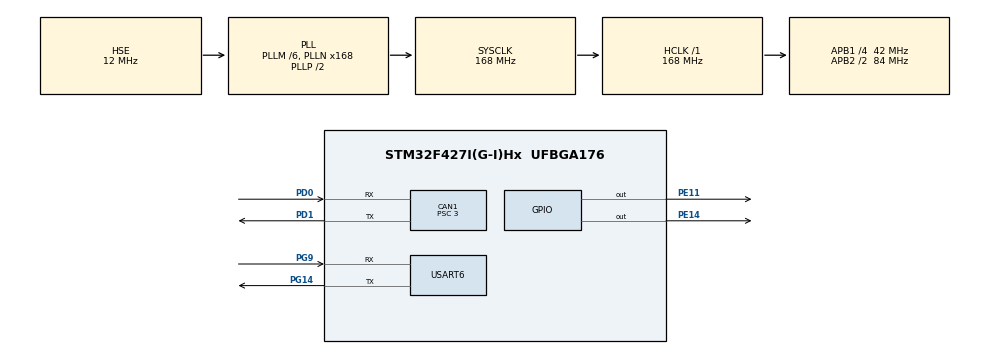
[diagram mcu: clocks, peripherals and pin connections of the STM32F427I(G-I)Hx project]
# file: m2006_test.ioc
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CAN1.BS1=CAN_BS1_9TQ
CAN1.BS2=CAN_BS2_4TQ
CAN1.CalculateBaudRate=1000000
CAN1.CalculateTimeBit=999.99
CAN1.CalculateTimeQuantum=71.42857142857143
CAN1.Prescaler=3
Mcu.Family=STM32F4
Mcu.Name=STM32F427I(G-I)Hx
Mcu.Package=UFBGA176
NVIC.CAN1_RX0_IRQn=true\:0\:0\:false\:false\:true\:true\:true
NVIC.PriorityGroup=NVIC_PRIORITYGROUP_4
NVIC.USART6_IRQn=true\:0\:0\:false\:false\:true\:true\:true
PA13.Mode=Serial_Wire
PA13.Signal=SYS_JTMS-SWDIO
PA14.Mode=Serial_Wire
PA14.Signal=SYS_JTCK-SWCLK
PD0.Mode=CAN_Activate
PD0.Signal=CAN1_RX
PD1.Mode=CAN_Activate
PD1.Signal=CAN1_TX
PE11.Signal=GPIO_Output
PE14.Signal=GPIO_Output
PG14.Mode=Asynchronous
PG14.Signal=USART6_TX
PG9.Mode=Asynchronous
PG9.Signal=USART6_RX
PH0/OSC_IN.Mode=HSE-External-Oscillator
PH0/OSC_IN.Signal=RCC_OSC_IN
PH1/OSC_OUT.Mode=HSE-External-Oscillator
PH1/OSC_OUT.Signal=RCC_OSC_OUT
ProjectManager.HeapSize=0x200
ProjectManager.StackSize=0x400
ProjectManager.TargetToolchain=MDK-ARM V5.27
RCC.48MHZClocksFreq_Value=84000000
RCC.AHBFreq_Value=168000000
RCC.APB1CLKDivider=RCC_HCLK_DIV4
RCC.APB1Freq_Value=42000000
RCC.APB1TimFreq_Value=84000000
RCC.APB2CLKDivider=RCC_HCLK_DIV2
RCC.APB2Freq_Value=84000000
RCC.APB2TimFreq_Value=168000000
RCC.CortexFreq_Value=168000000
RCC.HCLKFreq_Value=168000000
RCC.HSE_VALUE=12000000
RCC.HSI_VALUE=16000000
RCC.LSE_VALUE=32768
RCC.PLLM=6
RCC.PLLN=168
RCC.PLLSourceVirtual=RCC_PLLSOURCE_HSE
RCC.SYSCLKFreq_VALUE=168000000
RCC.SYSCLKSource=RCC_SYSCLKSOURCE_PLLCLK
RCC.VCOOutputFreq_Value=336000000
USART6.VirtualMode=VM_ASYNC
board=custom

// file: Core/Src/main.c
/* USER CODE BEGIN Header */
/**
  ******************************************************************************
  * @file           : main.c
  * @brief          : Main program body
  ******************************************************************************
  * @attention
  *
  * <h2><center>&copy; Copyright (c) 2021 STMicroelectronics.
  * All rights reserved.</center></h2>
  *
  * This software component is licensed by ST under BSD 3-Clause license,
  * the "License"; You may not use this file except in compliance with the
  * License. You may obtain a copy of the License at:
  *                        opensource.org/licenses/BSD-3-Clause
  *
  ******************************************************************************
  */
/* USER CODE END Header */
#include "main.h"
#include "can.h"
#include "usart.h"
#include "gpio.h"

/* USER CODE BEGIN Includes */
#include "PID.h"
#include "ROS_UART.h"
#include "Yuntai.h"
#include "Mission.h"
#include "M2006.h"
/* USER CODE END Includes */

void SystemClock_Config(void);

/* USER CODE BEGIN 0 */
uint8_t TxBuffer[8]={0};
float pos1=0.123;
float pos2=0.234;
int count=0;
int vel1=0;
int vel2=0;
int flag1=0;
/* USER CODE END 0 */

int main(void)
{

  /* MCU Configuration--------------------------------------------------------*/

  /* Reset of all peripherals, Initializes the Flash interface and the Systick. */
  HAL_Init();

  /* Configure the system clock */
  SystemClock_Config();

  /* Initialize all configured peripherals */
  MX_GPIO_Init();
  MX_CAN1_Init();
  MX_USART6_UART_Init();
  /* USER CODE BEGIN 2 */
	HAL_UART_Receive_IT(&huart6,Receive_Data,18u);
	CanFilterInit(&hcan1);
	Yuntai_Init();
  /* USER CODE END 2 */

  /* Infinite loop */
  /* USER CODE BEGIN WHILE */
  while (1)
  {
		count+=1;
		if(count>500)
		{
			TxBuffer_Package(TxBuffer,Yuntai.Motor[0].real_angle,Yuntai.Motor[1].real_angle);
			HAL_UART_Transmit(&huart6,TxBuffer,8,18u);
			count=0;
			HAL_GPIO_TogglePin(GPIOE,GPIO_PIN_11);
		}
		Mission_Start();
		HAL_Delay(1);
    /* USER CODE END WHILE */

  }
}

void SystemClock_Config(void)
{
  RCC_OscInitTypeDef RCC_OscInitStruct = {0};
  RCC_ClkInitTypeDef RCC_ClkInitStruct = {0};

  /** Configure the main internal regulator output voltage
  */
  __HAL_RCC_PWR_CLK_ENABLE();
  __HAL_PWR_VOLTAGESCALING_CONFIG(PWR_REGULATOR_VOLTAGE_SCALE1);
  /** Initializes the RCC Oscillators according to the specified parameters
  * in the RCC_OscInitTypeDef structure.
  */
  RCC_OscInitStruct.OscillatorType = RCC_OSCILLATORTYPE_HSE;
  RCC_OscInitStruct.HSEState = RCC_HSE_ON;
  RCC_OscInitStruct.PLL.PLLState = RCC_PLL_ON;
  RCC_OscInitStruct.PLL.PLLSource = RCC_PLLSOURCE_HSE;
  RCC_OscInitStruct.PLL.PLLM = 6;
  RCC_OscInitStruct.PLL.PLLN = 168;
  RCC_OscInitStruct.PLL.PLLP = RCC_PLLP_DIV2;
  RCC_OscInitStruct.PLL.PLLQ = 4;
  if (HAL_RCC_OscConfig(&RCC_OscInitStruct) != HAL_OK)
  {
    Error_Handler();
  }
  /** Initializes the CPU, AHB and APB buses clocks
  */
  RCC_ClkInitStruct.ClockType = RCC_CLOCKTYPE_HCLK|RCC_CLOCKTYPE_SYSCLK
                              |RCC_CLOCKTYPE_PCLK1|RCC_CLOCKTYPE_PCLK2;
  RCC_ClkInitStruct.SYSCLKSource = RCC_SYSCLKSOURCE_PLLCLK;
  RCC_ClkInitStruct.AHBCLKDivider = RCC_SYSCLK_DIV1;
  RCC_ClkInitStruct.APB1CLKDivider = RCC_HCLK_DIV4;
  RCC_ClkInitStruct.APB2CLKDivider = RCC_HCLK_DIV2;

  if (HAL_RCC_ClockConfig(&RCC_ClkInitStruct, FLASH_LATENCY_5) != HAL_OK)
  {
    Error_Handler();
  }
}

/* USER CODE BEGIN 4 */
void HAL_UART_RxCpltCallback(UART_HandleTypeDef *huart)
{
	HAL_UART_Receive_IT(&huart6,Receive_Data,18u);
	RxBuffer_Decode(Receive_Data);
}

void HAL_CAN_RxFifo0MsgPendingCallback(CAN_HandleTypeDef *hcan)
{
	flag1+=1;
	CAN_RxHeaderTypeDef   RxHeader;
	if(HAL_CAN_GetRxMessage(hcan, CAN_RX_FIFO0, &RxHeader, CanReceiveData) != HAL_OK)
  {
    Error_Handler();
  }
  CanDataReceive(RxHeader.StdId);
}

/* USER CODE END 4 */

void Error_Handler(void)
{
  __disable_irq();
  while (1)
  {
  }
}

/************************ (C) COPYRIGHT STMicroelectronics *****END OF FILE****/
